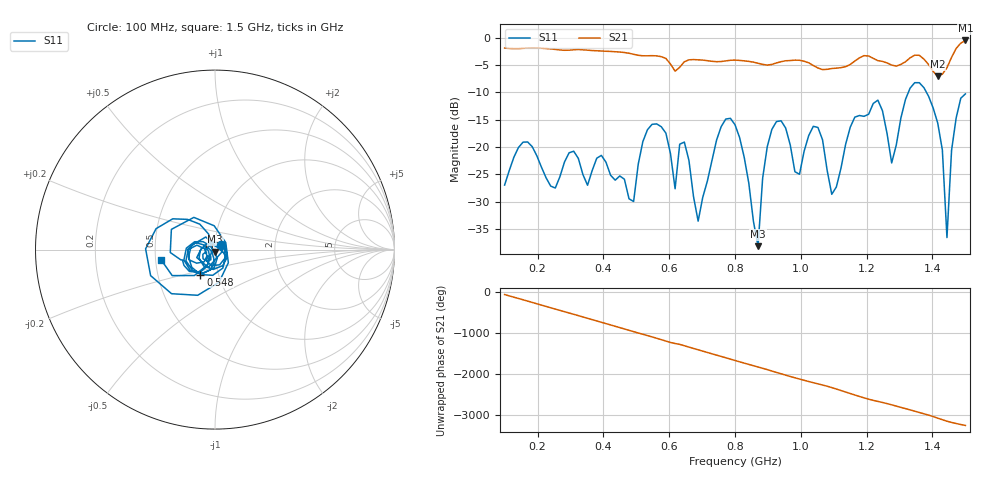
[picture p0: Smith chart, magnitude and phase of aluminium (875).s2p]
! NanoVNA-App
! Date: 2025-09-25 15:02:05
! Start: 100MHz Stop: 1,5GHz Points: 101
! S-Parameter data: F S11 S21 S12 S22
# Hz S RI R 50
!  Frequency  S11_Real  S11_Imag  S21_Real  S21_Imag  S12_Real  S12_Imag  S22_Real  S22_Imag
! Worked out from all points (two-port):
!   101 points, 100 MHz to 1.5 GHz, reference 50 ohm
!   highest |S21| = -0.53 dB at 1.5 GHz (marker M1); lowest = -7.1 dB at 1.416 GHz (marker M2)
!   |S21| within 3 dB of the highest: start of sweep to 577.5 MHz; 1.459 GHz to end of sweep (the widest 2 of 4)
!   lowest |S11| = -38.1 dB at 870 MHz (marker M3), VSWR 1.03, Z = 50 - j1.24 ohm
!   |S11| at or under -10 dB: start of sweep to 1.327 GHz; 1.382 GHz to end of sweep
!   S12 and S22 are empty: the file has one direction only
!   S11 on the Smith chart (normalised r, x): 100 MHz: 1.07, +0.06; 548 MHz: 0.82, -0.23; 1.5 GHz: 0.54, -0.07
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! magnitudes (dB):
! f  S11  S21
! 100 MHz  -27.0  -1.9
! 156 MHz  -19.1  -2.0
! 338 MHz  -25.0  -2.2
! 492 MHz  -30.0  -3.1
! 548 MHz  -15.9  -3.3
! 576 MHz  -16.3  -3.5
! 618 MHz  -27.6  -6.1
! 646 MHz  -19.1  -4.4
! 688 MHz  -33.6  -4.1
! 800 MHz  -15.9  -4.1
! 870 MHz  -38.1  -4.7
! 912 MHz  -16.8  -4.9
! 996 MHz  -25.0  -4.1
! 1.038 GHz  -16.2  -5.1
! 1.094 GHz  -28.6  -5.7
! 1.234 GHz  -11.4  -4.2
! 1.276 GHz  -22.9  -5.0
! 1.346 GHz  -8.2  -3.2
! 1.416 GHz  -15.6  -7.1
! 1.444 GHz  -36.6  -5.5
! 1.458 GHz  -20.6  -3.6
! 1.5 GHz  -10.3  -0.5
